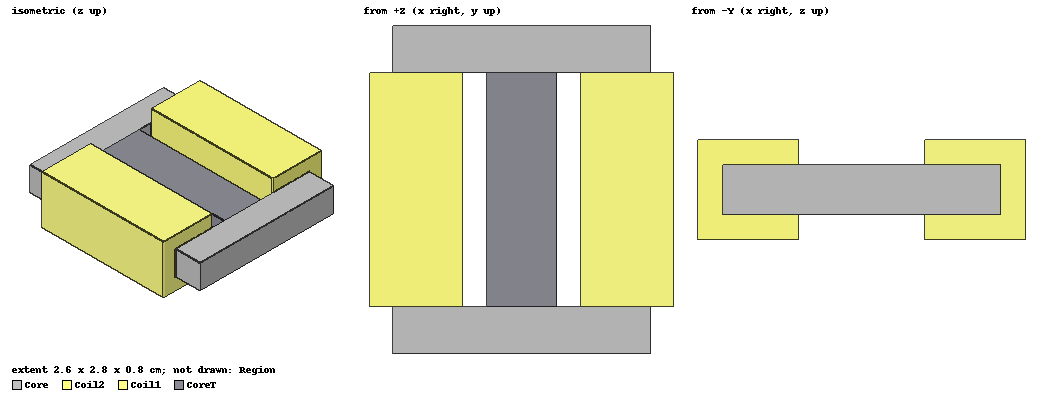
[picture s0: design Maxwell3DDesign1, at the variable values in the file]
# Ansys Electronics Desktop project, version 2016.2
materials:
  vacuum: permittivity=1
  copper: permeability=0.999991 conductivity=58000000
  ferrite: permittivity=12 permeability=1000 conductivity=0.01
  air: permittivity=1.0006 permeability=1.0000004

design Maxwell3DDesign1 (Maxwell 3D, Magnetostatic, model units cm)
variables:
  c1 = 100A
  c2 = -100A
  t1 = 100
  t2 = 50
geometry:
  Box1 = box(corner=(0cm, 0cm, 0cm), size=(0.4cm, 2cm, 0.4cm))
  Box2 = box(corner=(0cm, 2cm, 0cm), size=(2.2cm, 0.4cm, 0.4cm))
  Coil2 [copper] = box(corner=(0cm, 0cm, -0.2cm), size=(0.8cm, 2cm, 0.8cm))
  Box2.move(0cm, -2.2cm, 0.2cm)
  Box2.move(0cm, 2.2cm, -0.2cm)
  Core [ferrite] = Box2.duplicate_along_line(step=(0cm, -2.4cm, 0cm), total=2)
  Coil2.move(0cm, 0cm, 0cm)
  Coil2.move(0cm, 0cm, 0cm)
  Box1_1 = Box1.duplicate_along_line(step=(1.8cm, 0cm, 0cm), total=2)
  Coil1 [copper] = Coil2.duplicate_along_line(step=(1.3cm, 0cm, 0cm), total=2)
  Coil1.move(0.2cm, 0cm, 0cm)
  Coil1.move(0.1cm, 0cm, 0cm)
  Coil2.move(0cm, 0cm, 0cm)
  Coil2.move(0cm, 0cm, 0cm)
  Coil2.move(-0.1cm, 0cm, 0cm)
  Coil2.move(-0.1cm, 0cm, 0cm)
  Core.unite(Box1, Box2, Box1_1)
  Core_2 = Core.copy()
  Coil2.subtract(Core_2)
  Core_3 = Core.copy()
  Coil1.subtract(Core_3)
  Terminal1 = rectangle(corner=(2.2cm, 2cm, 0.2cm), x_size=0.2cm, y_size=-2cm)
  Terminal1.separate_bodies()
  Terminal2 = Terminal1.duplicate_along_line(step=(-2.4cm, 0cm, -2.7755576e-17cm), total=2)
  Terminal2.separate_bodies()
  Region [air] = region(percentage_offset=50 on all sides)
  CoreT [ferrite] = box(corner=(1.4cm, 2cm, 0cm), size=(-0.6cm, -2cm, 0.4cm))
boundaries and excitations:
  Insulating1: Insulating Objects=Coil1
  Insulating2: Insulating Objects=Coil2
  Current1: Current Objects=Terminal1 Current=100A IsSolid=false Point_out_of_terminal=false
  Current2: Current Objects=Terminal2 Current=100A IsSolid=false Point_out_of_terminal=false
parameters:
  Matrix1: Matrix Current1, Current2: NumberOfTurns=30
  Matrix2: Matrix Current1, Current2: NumberOfTurns=50
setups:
  Setup1: Magnetostatic MaximumPasses=10 MinimumPasses=2 MinimumConvergedPasses=1 PercentRefinement=30 PercentError=1 NonLinearResidual=0.001
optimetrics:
  ParametricSetup1: Parametric ProdOptiSetupData{SaveFields} Sim._Setups=[Setup1]
    sweep c2: LIN -100A 100A 200A
    sweep t1: LIN 50 100 50
    sweep t2: LIN 50 100 50
    sweep c1: LIN -100A 100A 200A
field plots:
  B_Vector1: B on Setup1 : LastAdaptive
